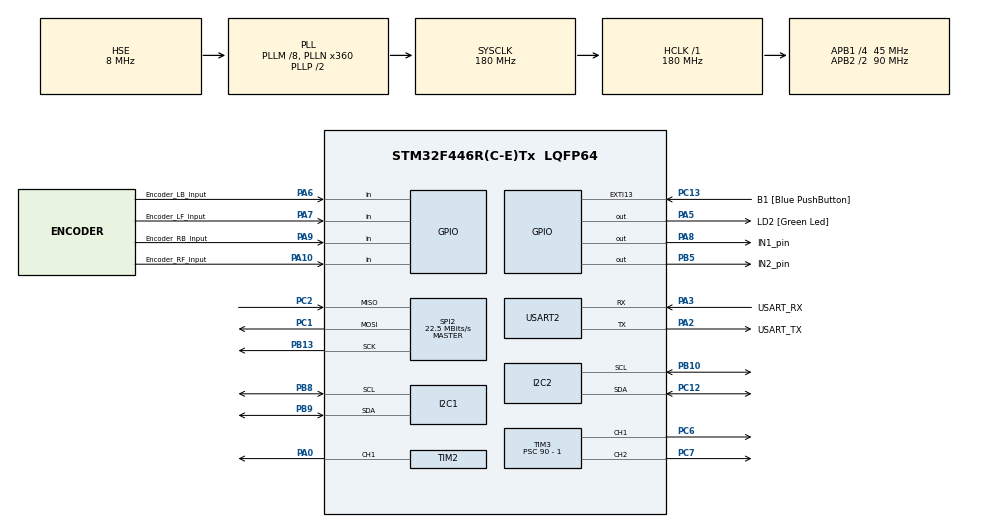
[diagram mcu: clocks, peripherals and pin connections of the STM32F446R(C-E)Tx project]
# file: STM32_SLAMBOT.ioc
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Dma.Request0=USART2_RX
Dma.Request1=USART2_TX
Dma.USART2_RX.0.Direction=DMA_PERIPH_TO_MEMORY
Dma.USART2_RX.0.FIFOMode=DMA_FIFOMODE_DISABLE
Dma.USART2_RX.0.Instance=DMA1_Stream5
Dma.USART2_RX.0.MemDataAlignment=DMA_MDATAALIGN_BYTE
Dma.USART2_RX.0.MemInc=DMA_MINC_ENABLE
Dma.USART2_RX.0.Mode=DMA_CIRCULAR
Dma.USART2_RX.0.PeriphDataAlignment=DMA_PDATAALIGN_BYTE
Dma.USART2_RX.0.PeriphInc=DMA_PINC_DISABLE
Dma.USART2_RX.0.Priority=DMA_PRIORITY_VERY_HIGH
Dma.USART2_TX.1.Direction=DMA_MEMORY_TO_PERIPH
Dma.USART2_TX.1.FIFOMode=DMA_FIFOMODE_DISABLE
Dma.USART2_TX.1.Instance=DMA1_Stream6
Dma.USART2_TX.1.MemDataAlignment=DMA_MDATAALIGN_BYTE
Dma.USART2_TX.1.MemInc=DMA_MINC_ENABLE
Dma.USART2_TX.1.Mode=DMA_NORMAL
Dma.USART2_TX.1.PeriphDataAlignment=DMA_PDATAALIGN_BYTE
Dma.USART2_TX.1.PeriphInc=DMA_PINC_DISABLE
Dma.USART2_TX.1.Priority=DMA_PRIORITY_VERY_HIGH
FREERTOS.Tasks01=defaultTask,24,3000,StartDefaultTask,Default,NULL,Static,defaultTaskBuffer,defaultTaskControlBlock
FREERTOS.configMINIMAL_STACK_SIZE=256
Mcu.Family=STM32F4
Mcu.Name=STM32F446R(C-E)Tx
Mcu.Package=LQFP64
NVIC.DMA1_Stream5_IRQn=true\:5\:0\:false\:false\:true\:true\:false\:true\:true
NVIC.DMA1_Stream6_IRQn=true\:5\:0\:false\:false\:true\:true\:false\:true\:true
NVIC.EXTI15_10_IRQn=true\:5\:0\:false\:false\:true\:true\:true\:true\:true
NVIC.PriorityGroup=NVIC_PRIORITYGROUP_4
NVIC.TIM1_UP_TIM10_IRQn=true\:15\:0\:false\:false\:true\:false\:false\:true\:true
NVIC.TIM2_IRQn=true\:5\:0\:false\:false\:true\:true\:true\:true\:true
NVIC.TimeBase=TIM1_UP_TIM10_IRQn
NVIC.TimeBaseIP=TIM1
NVIC.USART2_IRQn=true\:5\:0\:false\:false\:true\:true\:true\:true\:true
PA0-WKUP.Signal=S_TIM2_CH1_ETR
PA10.GPIO_Label=Encoder_RF_Input
PA10.Signal=GPIO_Input
PA13.GPIO_Label=TMS
PA13.Mode=Serial_Wire
PA13.Signal=SYS_JTMS-SWDIO
PA14.GPIO_Label=TCK
PA14.Mode=Serial_Wire
PA14.Signal=SYS_JTCK-SWCLK
PA2.GPIO_Label=USART_TX
PA2.Mode=Asynchronous
PA2.Signal=USART2_TX
PA3.GPIO_Label=USART_RX
PA3.Mode=Asynchronous
PA3.Signal=USART2_RX
PA5.GPIO_Label=LD2 [Green Led]
PA5.Signal=GPIO_Output
PA6.GPIO_Label=Encoder_LB_Input
PA6.Signal=GPIO_Input
PA7.GPIO_Label=Encoder_LF_Input
PA7.Signal=GPIO_Input
PA8.GPIO_Label=IN1_pin
PA8.Signal=GPIO_Output
PA9.GPIO_Label=Encoder_RB_Input
PA9.Signal=GPIO_Input
PB10.Mode=I2C
PB10.Signal=I2C2_SCL
PB13.Mode=Full_Duplex_Master
PB13.Signal=SPI2_SCK
PB3.GPIO_Label=SWO
PB3.Signal=SYS_JTDO-SWO
PB5.GPIO_Label=IN2_pin
PB5.Signal=GPIO_Output
PB8.Mode=I2C
PB8.Signal=I2C1_SCL
PB9.Mode=I2C
PB9.Signal=I2C1_SDA
PC1.Mode=Full_Duplex_Master
PC1.Signal=SPI2_MOSI
PC12.Mode=I2C
PC12.Signal=I2C2_SDA
PC13.GPIO_Label=B1 [Blue PushButton]
PC13.GPIO_ModeDefaultEXTI=GPIO_MODE_IT_FALLING
PC13.Signal=GPXTI13
PC14-OSC32_IN.Mode=LSE-External-Oscillator
PC14-OSC32_IN.Signal=RCC_OSC32_IN
PC15-OSC32_OUT.Mode=LSE-External-Oscillator
PC15-OSC32_OUT.Signal=RCC_OSC32_OUT
PC2.Mode=Full_Duplex_Master
PC2.Signal=SPI2_MISO
PC6.Signal=S_TIM3_CH1
PC7.Signal=S_TIM3_CH2
PH0-OSC_IN.Mode=HSE-External-Oscillator
PH0-OSC_IN.Signal=RCC_OSC_IN
PH1-OSC_OUT.Mode=HSE-External-Oscillator
PH1-OSC_OUT.Signal=RCC_OSC_OUT
ProjectManager.HeapSize=0x200
ProjectManager.StackSize=0x400
ProjectManager.TargetToolchain=STM32CubeIDE
RCC.48MHZClocksFreq_Value=84000000
RCC.AHBFreq_Value=180000000
RCC.APB1CLKDivider=RCC_HCLK_DIV4
RCC.APB1Freq_Value=45000000
RCC.APB1TimFreq_Value=90000000
RCC.APB2CLKDivider=RCC_HCLK_DIV2
RCC.APB2Freq_Value=90000000
RCC.APB2TimFreq_Value=180000000
RCC.CortexFreq_Value=180000000
RCC.FLatency-AdvancedSettings=FLASH_LATENCY_5
RCC.HCLKFreq_Value=180000000
RCC.HSE_VALUE=8000000
RCC.HSI_VALUE=16000000
RCC.PLLM=8
RCC.PLLN=360
RCC.PLLSourceVirtual=RCC_PLLSOURCE_HSE
RCC.SYSCLKFreq_VALUE=180000000
RCC.SYSCLKSource=RCC_SYSCLKSOURCE_PLLCLK
RCC.USBFreq_Value=180000000
RCC.VCOOutputFreq_Value=360000000
SH.S_TIM2_CH1_ETR.0=TIM2_CH1,PWM Generation1 CH1
SH.S_TIM3_CH1.0=TIM3_CH1,PWM Generation1 CH1
SH.S_TIM3_CH2.0=TIM3_CH2,PWM Generation2 CH2
SPI2.BaudRatePrescaler=SPI_BAUDRATEPRESCALER_2
SPI2.CalculateBaudRate=22.5 MBits/s
SPI2.Direction=SPI_DIRECTION_2LINES
SPI2.Mode=SPI_MODE_MASTER
SPI2.VirtualType=VM_MASTER
TIM2.Channel-PWM\ Generation1\ CH1=TIM_CHANNEL_1
TIM2.Period=10000 -1
TIM2.Prescaler=180-1
TIM3.AutoReloadPreload=TIM_AUTORELOAD_PRELOAD_ENABLE
TIM3.Channel-PWM\ Generation1\ CH1=TIM_CHANNEL_1
TIM3.Channel-PWM\ Generation2\ CH2=TIM_CHANNEL_2
TIM3.Period=2000 - 1
TIM3.Prescaler=90 - 1
TIM3.Pulse-PWM\ Generation1\ CH1=25
USART2.VirtualMode=VM_ASYNC
VP_FREERTOS_VS_CMSIS_V2.Mode=CMSIS_V2
VP_SYS_VS_tim1.Mode=TIM1
VP_TIM2_VS_ClockSourceINT.Mode=Internal
VP_TIM3_VS_ClockSourceINT.Mode=Internal
board=NUCLEO-F446RE

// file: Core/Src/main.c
/* USER CODE BEGIN Header */
/**
  ******************************************************************************
  * @file           : main.c
  * @brief          : Main program body
  ******************************************************************************
  * @attention
  *
  * Copyright (c) 2024 STMicroelectronics.
  * All rights reserved.
  *
  * This software is licensed under terms that can be found in the LICENSE file
  * in the root directory of this software component.
  * If no LICENSE file comes with this software, it is provided AS-IS.
  *
  ******************************************************************************
  */
/* USER CODE END Header */
#include "main.h"
#include "cmsis_os.h"
#include "dma.h"
#include "i2c.h"
#include "spi.h"
#include "tim.h"
#include "usart.h"
#include "gpio.h"

/* USER CODE BEGIN Includes */
#include <string.h>
#include <stdio.h>
#include <inttypes.h>
#include <stdbool.h>

#include <rcl/rcl.h>
#include <rcl/error_handling.h>
#include <rclc/rclc.h>
#include <rclc/executor.h>
#include <uxr/client/transport.h>
#include <rmw_microxrcedds_c/config.h>
#include <rmw_microros/rmw_microros.h>

#include <std_msgs/msg/int32.h>

#include "cmsis_os2.h"
#include "constants.h"
/* USER CODE END Includes */

/* USER CODE BEGIN PV */

//#define NUM_ENCODERS 4
//#define MAX_TICK_COUNT 65353
//#define ACCEL_SCALE 16384.0
//#define GYRO_SCALE  131.0
//
//static const uint8_t LIDAR_ADDR  = 0x10 << 1;
//// static const uint8_t DIST_OUT  = 0x21 << 1;
////static const uint8_t DIST_LOW  = 0x00 << 1;
//
//
//
//
////test change
//
//static const uint8_t MPU9250_ADDR  = 0x68 << 1;
//static const uint8_t REG_TEMP = 0x00;
//static const uint8_t WHO_AM_I_REG = 0x75;
//static const uint8_t PWR_MGMT_1_REG = 0x6B;
//static const uint8_t ACCEL_XOUT_H = 0x3B;
//static const uint8_t GYRO_XOUT_H = 0x43;

//typedef enum{
//    STOP = 'x',
//    MOVE_FORWARD = 'w',
//    MOVE_BACKWARD = 's',
//    MOVE_LEFT = 'l',
//    MOVE_RIGHT = 'r',
//    ROTATE_LEFT = 'a',
//    ROTATE_RIGHT = 'd',
//    DIAG_FORWARD_RIGHT = 'e',
//    DIAG_BACKWARD_RIGHT = 'c',
//    DIAG_FORWARD_LEFT = 'q',
//    DIAG_BACKWARD_LEFT = 'z',
//    FASTER = '+',
//    SLOWER = '-',
//    INVALID = '?'
//}RobotMovement;

//typedef enum{
//    FORWARD = 1,
//    BACKWARD = -1,
//	STOPPED = 100
//}Direction;

//typedef struct {
//    Direction left_front;
//    Direction right_front;
//    Direction left_back;
//    Direction right_back;
//} MovementDirections;
//
//// Define static movement directions
//const MovementDirections DIR_MOVE_FORWARD = {FORWARD, FORWARD, BACKWARD, BACKWARD};
//const MovementDirections DIR_MOVE_BACKWARD = {BACKWARD, BACKWARD, FORWARD, FORWARD};
//const MovementDirections DIR_MOVE_LEFT = {BACKWARD, FORWARD, BACKWARD, FORWARD};
//const MovementDirections DIR_MOVE_RIGHT = {FORWARD, BACKWARD, FORWARD, BACKWARD};
//const MovementDirections DIR_ROTATE_LEFT = {BACKWARD, FORWARD, BACKWARD, FORWARD};
//const MovementDirections DIR_ROTATE_RIGHT = {FORWARD, BACKWARD, FORWARD, BACKWARD};
//const MovementDirections DIR_DIAG_FORWARD_RIGHT = {FORWARD, STOPPED, FORWARD, STOPPED};
//const MovementDirections DIR_DIAG_BACKWARD_RIGHT = {STOPPED, BACKWARD, STOPPED, BACKWARD};
//const MovementDirections DIR_DIAG_FORWARD_LEFT = {STOPPED, FORWARD, STOPPED, FORWARD};
//const MovementDirections DIR_DIAG_BACKWARD_LEFT = {BACKWARD, STOPPED, BACKWARD, STOPPED};

//Direction* test = (Direction*)mallac(sizeof(Direction)*4);
//Direction DIR_MOVE_FORWARD[] = {BACKWARD, FORWARD, FORWARD, BACKWARD};
//Direction DIR_MOVE_BACKWARD[] = {FORWARD, BACKWARD, BACKWARD, FORWARD};
//Direction DIR_MOVE_LEFT[] = {BACKWARD, FORWARD, BACKWARD, FORWARD};
//Direction DIR_MOVE_RIGHT[] = {FORWARD, BACKWARD, FORWARD, BACKWARD};
//Direction DIR_ROTATE_LEFT[] = {BACKWARD, FORWARD, BACKWARD, FORWARD};
//Direction DIR_ROTATE_RIGHT[] = {FORWARD, BACKWARD, FORWARD, BACKWARD};
//Direction DIR_DIAG_FORWARD_RIGHT[] = {FORWARD, STOPPED, FORWARD, STOPPED};
//Direction DIR_DIAG_BACKWARD_RIGHT[] = {STOPPED, BACKWARD, STOPPED, BACKWARD};
//Direction DIR_DIAG_FORWARD_LEFT[] = {STOPPED, FORWARD, STOPPED, FORWARD};
//Direction DIR_DIAG_BACKWARD_LEFT[] = {BACKWARD, STOPPED, BACKWARD, STOPPED};

//typedef enum{
//    BACK = 0,
//    FRONT = 1,
//}WheelPosition;

//volatile int32_t encoder_ticks_wheel1 = 0;
//volatile uint8_t prev_encoder1_state = 0;

//typedef struct{
//	volatile int32_t tick_count;
//	volatile uint8_t prev_state;
//	Direction wheel_spin;
//	WheelPosition wheel_pos;
//	GPIO_TypeDef* gpio_port;
//	uint16_t gpio_pin;
//}Encoder;

//forward wheel and back spin in opposite direction to achieve forward/backward

//Encoder right_back = {0, 0, BACKWARD, BACK, Encoder_RB_Input_GPIO_Port, Encoder_RB_Input_Pin};
//Encoder right_front = {0, 0, FORWARD, FRONT, Encoder_RF_Input_GPIO_Port, Encoder_RF_Input_Pin};
//Encoder left_front = {0, 0, FORWARD, FRONT, Encoder_LF_Input_GPIO_Port,Encoder_LF_Input_Pin};
//Encoder left_back = {0, 0, BACKWARD, BACK, Encoder_LB_Input_GPIO_Port, Encoder_LB_Input_Pin};

//Encoder* encoders[NUM_ENCODERS] = {&right_back, &right_front, &left_front, &left_back};

//uint8_t imu_buf[14];
//uint8_t uart_buf[100];
//uint8_t i2c_buf[100];

uint8_t uart_lidar_buf[10];
//uint8_t i2c_lidar_buf[10];

HAL_StatusTypeDef ret;
HAL_StatusTypeDef ret_lidar;
float accel[3], gyro[3];

/* USER CODE END PV */

void SystemClock_Config(void);
void MX_FREERTOS_Init(void);
/* USER CODE BEGIN PFP */

void MPU9250_Init(void);
void MPU9250_read_accel_gyro(float *accel, float *gyro);
void handle_IMU();
void handle_lidar();
void handle_lidar_i2c();
void handle_encoder();

void update_multiple_directions(const Direction dir[]);
void update_encoder_directon(Encoder * enc, Direction wheel_dir);
void handle_encoder_direction(RobotMovement move);

/* USER CODE END PFP */

int main(void)
{

  /* MCU Configuration--------------------------------------------------------*/

  /* Reset of all peripherals, Initializes the Flash interface and the Systick. */
  HAL_Init();

  /* Configure the system clock */
  SystemClock_Config();

  /* Initialize all configured peripherals */
  MX_GPIO_Init();
  MX_DMA_Init();
  MX_USART2_UART_Init();
  MX_I2C1_Init();
  MX_TIM2_Init();
  MX_I2C2_Init();
  MX_SPI2_Init();
  MX_TIM3_Init();
  /* USER CODE BEGIN 2 */
  strcpy((char*)uart_buf, "Starting Timer2 \r\n");
  HAL_UART_Transmit(&huart2, uart_buf, strlen((char*)uart_buf), HAL_MAX_DELAY);

  // void HAL_TIM_PeriodElapsedCallback(TIM_HandleTypeDef* htim);

  HAL_TIM_Base_Start_IT(&htim2);
  //HAL_TIM_PWM_Start(&htim2, TIM_CHANNEL_1);
  HAL_TIM_PWM_Start(&htim3, TIM_CHANNEL_2);
//  HAL_TIM_Encoder_Start(&htim2, TIM_CHANNEL_ALL);
//  HAL_TIM_Encoder_Start_IT(&htim3, TIM_CHANNEL_ALL);
//  HAL_TIM_Encoder_Start_IT(&htim4, TIM_CHANNEL_ALL);
//  HAL_TIM_Encoder_Start_IT(&htim5, TIM_CHANNEL_ALL);

  /* USER CODE END 2 */

  /* Init scheduler */
   osKernelInitialize();

  /* Call init function for freertos objects (in cmsis_os2.c) */
   MX_FREERTOS_Init();

  /* Start scheduler */
   osKernelStart();

  /* We should never get here as control is now taken by the scheduler */

  /* Infinite loop */
  while (1)
  {

    /* USER CODE BEGIN 3 */

//	 never reach here due to freeRTOS, but keep for debugging sensors when needed (also need tp comment osKernelStart)
//	 handle_IMU();
//	 handle_lidar_i2c();
//	 handle_encoder();

//	HAL_Delay(500);
  }
  /* USER CODE END 3 */
}

void SystemClock_Config(void)
{
  RCC_OscInitTypeDef RCC_OscInitStruct = {0};
  RCC_ClkInitTypeDef RCC_ClkInitStruct = {0};

  /** Configure the main internal regulator output voltage
  */
  __HAL_RCC_PWR_CLK_ENABLE();
  __HAL_PWR_VOLTAGESCALING_CONFIG(PWR_REGULATOR_VOLTAGE_SCALE1);

  /** Initializes the RCC Oscillators according to the specified parameters
  * in the RCC_OscInitTypeDef structure.
  */
  RCC_OscInitStruct.OscillatorType = RCC_OSCILLATORTYPE_HSE;
  RCC_OscInitStruct.HSEState = RCC_HSE_ON;
  RCC_OscInitStruct.PLL.PLLState = RCC_PLL_ON;
  RCC_OscInitStruct.PLL.PLLSource = RCC_PLLSOURCE_HSE;
  RCC_OscInitStruct.PLL.PLLM = 8;
  RCC_OscInitStruct.PLL.PLLN = 360;
  RCC_OscInitStruct.PLL.PLLP = RCC_PLLP_DIV2;
  RCC_OscInitStruct.PLL.PLLQ = 2;
  RCC_OscInitStruct.PLL.PLLR = 2;
  if (HAL_RCC_OscConfig(&RCC_OscInitStruct) != HAL_OK)
  {
    Error_Handler();
  }

  /** Activate the Over-Drive mode
  */
  if (HAL_PWREx_EnableOverDrive() != HAL_OK)
  {
    Error_Handler();
  }

  /** Initializes the CPU, AHB and APB buses clocks
  */
  RCC_ClkInitStruct.ClockType = RCC_CLOCKTYPE_HCLK|RCC_CLOCKTYPE_SYSCLK
                              |RCC_CLOCKTYPE_PCLK1|RCC_CLOCKTYPE_PCLK2;
  RCC_ClkInitStruct.SYSCLKSource = RCC_SYSCLKSOURCE_PLLCLK;
  RCC_ClkInitStruct.AHBCLKDivider = RCC_SYSCLK_DIV1;
  RCC_ClkInitStruct.APB1CLKDivider = RCC_HCLK_DIV4;
  RCC_ClkInitStruct.APB2CLKDivider = RCC_HCLK_DIV2;

  if (HAL_RCC_ClockConfig(&RCC_ClkInitStruct, FLASH_LATENCY_5) != HAL_OK)
  {
    Error_Handler();
  }
}

/* USER CODE BEGIN 4 */

void lidar_Init(){

}

void MPU9250_Init(void)
{
    uint8_t check, data;

    // Check WHO_AM_I register
    HAL_I2C_Mem_Read(&hi2c1, MPU9250_ADDR, WHO_AM_I_REG, 1, &check, 1, HAL_MAX_DELAY);
    if (check != 0x71)  // 0x71 is the expected response for MPU-9250
    {
        char error_msg[] = "MPU9250 not found\r\n";
        HAL_UART_Transmit(&huart2, (uint8_t *)error_msg, strlen(error_msg), HAL_MAX_DELAY);
        while (1);  // Stop execution if MPU-9250 is not detected
    }

    // Wake up the MPU-9250 by clearing sleep mode bit (6) in PWR_MGMT_1
    data = 0x00;
    HAL_I2C_Mem_Write(&hi2c1, MPU9250_ADDR, PWR_MGMT_1_REG, 1, &data, 1, HAL_MAX_DELAY);
}

void handle_lidar(){

   // bool receive_lidar_data = true;
    // Receive data from Lidar (9 bytes for a typical distance data frame)
//    uint8_t continous_output[] = {0x5A, 0x05, 0x07, 0x01, 0x00};
//    ret_lidar = HAL_UART_Transmit(&huart3, continous_output , strlen((char*)continous_output), HAL_MAX_DELAY);
//    if(ret_lidar == HAL_OK){
//        strcpy((char*)uart_buf, "Continous output command succeded \r\n");
//        HAL_UART_Transmit(&huart2, uart_buf, strlen((char*)uart_buf), HAL_MAX_DELAY);
//    }

//	ret_lidar = HAL_UART_Receive(&huart4, uart_lidar_buf, strlen((char*)uart_lidar_buf), HAL_MAX_DELAY);
//    if (ret_lidar != HAL_OK) {
//        // Handle UART receive failure
//        strcpy((char*)uart_buf, "Lidar UART Receive Failed in handle_lidar\r\n");
//        HAL_UART_Transmit(&huart2, uart_buf, strlen((char*)uart_buf), HAL_MAX_DELAY);
//        receive_lidar_data = false;
//    }
//
//    if (receive_lidar_data) {
//    	 sprintf((char*)uart_buf, "Recieved data");
//    	 HAL_UART_Transmit(&huart2, uart_buf, strlen((char*)uart_buf), HAL_MAX_DELAY);
//        // Validate header
//        if (uart_lidar_buf[0] != 0x5A) {
//            strcpy((char*)uart_buf, "Invalid Lidar Data Header\r\n");
//            HAL_UART_Transmit(&huart2, uart_buf, strlen((char*)uart_buf), HAL_MAX_DELAY);
//            return;
//        }
//
//        // Extract the payload length
//        uint8_t len = uart_lidar_buf[1];
//        if (len < 4 || len > 255) {
//            strcpy((char*)uart_buf, "Invalid Lidar Data Length\r\n");
//            HAL_UART_Transmit(&huart2, uart_buf, strlen((char*)uart_buf), HAL_MAX_DELAY);
//            return;
//        }
//
//        sprintf((char*)uart_buf, "Header and payload okay data");
//        HAL_UART_Transmit(&huart2, uart_buf, strlen((char*)uart_buf), HAL_MAX_DELAY);
//
//        // Parse distance data (Payload bytes)
//        uint16_t distance = (uart_lidar_buf[3] << 8) | uart_lidar_buf[2];
//
//        // Optional: Validate checksum (if checksum verification is enabled)
//        uint8_t checksum = 0;
//        for (int i = 0; i < len - 1; i++) {
//            checksum += uart_lidar_buf[i];
//        }
//        sprintf((char*)uart_buf, "Checksum okay data");
//        HAL_UART_Transmit(&huart2, uart_buf, strlen((char*)uart_buf), HAL_MAX_DELAY);
//        if ((checksum & 0xFF) != uart_lidar_buf[len - 1]) {
//            strcpy((char*)uart_buf, "Lidar Checksum Error\r\n");
//            HAL_UART_Transmit(&huart2, uart_buf, strlen((char*)uart_buf), HAL_MAX_DELAY);
//            return;
//        }
//
//        // Transmit distance over UART
//        sprintf((char*)uart_buf, "LiDAR Distance: %u cm\r\n", distance);
//        HAL_UART_Transmit(&huart2, uart_buf, strlen((char*)uart_buf), HAL_MAX_DELAY);
//    }
}

void handle_lidar_i2c(){
	uart_buf[0] = REG_TEMP;
	// verify connection

	bool connect_lidar_success = true;
	ret = HAL_I2C_Master_Transmit(&hi2c2, LIDAR_ADDR, i2c_lidar_buf, 1, HAL_MAX_DELAY);
	if(ret != HAL_OK){
		strcpy((char*)uart_buf, "Lidar I2C Transmit Failed in handle_IMU\r\n");
		HAL_UART_Transmit(&huart2, uart_buf, strlen((char*)uart_buf), HAL_MAX_DELAY);
		connect_lidar_success = false;
	}

	ret = HAL_I2C_Master_Receive(&hi2c2, LIDAR_ADDR, i2c_lidar_buf, 2, HAL_MAX_DELAY);
	if(ret != HAL_OK){
		strcpy((char*)uart_buf, "Lidar I2C Receive Failed in handle_IMU\r\n");
		HAL_UART_Transmit(&huart2, uart_buf, strlen((char*)uart_buf), HAL_MAX_DELAY);
		connect_lidar_success = false;
	}

	//read and print
	if(connect_lidar_success){
		// uint8_t i2c__test_buf[14];
	    HAL_I2C_Mem_Read(&hi2c2, LIDAR_ADDR, 0x00, 1, i2c_lidar_buf, 14, HAL_MAX_DELAY);
	    uint8_t distance = (i2c_lidar_buf[1] << 8) | i2c_lidar_buf[0];
        sprintf((char *)uart_buf, "LiDAR Distance: %u cm\r\n", distance);
        HAL_UART_Transmit(&huart2, uart_buf, strlen((char *)uart_buf), HAL_MAX_DELAY);
	}

}

void handle_IMU(){

	uart_buf[0] = REG_TEMP;

	// verify connection
	bool connect_imu_success = true;
	ret = HAL_I2C_Master_Transmit(&hi2c1, MPU9250_ADDR, i2c_buf, 1, HAL_MAX_DELAY);
	if(ret != HAL_OK){
		strcpy((char*)uart_buf, "MPU9250 I2C Transmit Failed in handle_IMU\r\n");
		HAL_UART_Transmit(&huart2, uart_buf, strlen((char*)uart_buf), HAL_MAX_DELAY);
		connect_imu_success = false;
	}

	ret = HAL_I2C_Master_Receive(&hi2c1, MPU9250_ADDR, i2c_buf, 2, HAL_MAX_DELAY);
	if(ret != HAL_OK){
		strcpy((char*)uart_buf, "MPU9250 I2C Receive Failed in handle_IMU\r\n");
		HAL_UART_Transmit(&huart2, uart_buf, strlen((char*)uart_buf), HAL_MAX_DELAY);
		connect_imu_success = false;
	}

	//read and print
	if(connect_imu_success){
		MPU9250_read_accel_gyro(accel, gyro);
		sprintf((char*)uart_buf,
					"Accel: X=%.2f, Y=%.2f, Z=%.2f | Gyro: X=%.2f, Y=%.2f, Z=%.2f\r\n",
					accel[0], accel[1], accel[2], gyro[0], gyro[1], gyro[2]);
		HAL_UART_Transmit(&huart2, uart_buf, strlen((char*)uart_buf), HAL_MAX_DELAY);
	}
}

/**
 * @brief Read accelerometer and gyroscope data
 * @param accel: Pointer to store accelerometer data (X, Y, Z)
 * @param gyro: Pointer to store gyroscope data (X, Y, Z)
 *
 */

void MPU9250_read_accel_gyro(float *accel, float *gyro)
{
    // Read accelerometer and gyroscope data (14 bytes)
    HAL_I2C_Mem_Read(&hi2c1, MPU9250_ADDR, ACCEL_XOUT_H, 1, imu_buf, 14, HAL_MAX_DELAY);

    // Convert accelerometer raw data to g
    accel[0] = (int16_t)((imu_buf[0] << 8) | imu_buf[1]) / ACCEL_SCALE;
    accel[1] = (int16_t)((imu_buf[2] << 8) | imu_buf[3]) / ACCEL_SCALE;
    accel[2] = (int16_t)((imu_buf[4] << 8) | imu_buf[5]) / ACCEL_SCALE;

    // Convert gyroscope raw data to degrees/second
    gyro[0] = (int16_t)((imu_buf[8] << 8) | imu_buf[9]) / GYRO_SCALE;
    gyro[1] = (int16_t)((imu_buf[10] << 8) | imu_buf[11]) / GYRO_SCALE;
    gyro[2] = (int16_t)((imu_buf[12] << 8) | imu_buf[13]) / GYRO_SCALE;
}

/*
 *
 * enum RobotMovement{
    STOP = 'x',
    MOVE_FORWARD = 'w',
    MOVE_BACKWARD = 's',
    MOVE_LEFT = 'l',
    MOVE_RIGHT = 'r',
    ROTATE_LEFT = 'a',
    ROTATE_RIGHT = 'd',
    DIAG_FORWARD_RIGHT = 'e',
    DIAG_BACKWARD_RIGHT = 'c',
    DIAG_FORWARD_LEFT = 'q',
    DIAG_BACKWARD_LEFT = 'z',
    FASTER = '+',
    SLOWER = '-',
    INVALID = '?'
};
 *
 *
 *
 *
 *
 * */
void handle_encoder(){
	 for (uint8_t i = 0; i < NUM_ENCODERS; i++) {
		// int32_t ticks =; // __HAL_TIM_GET_COUNTER(&htim2);
		sprintf((char*)uart_buf, "Pin: %u\r\n",  encoders[i]->gpio_pin);
		HAL_UART_Transmit(&huart2, uart_buf, strlen((char*)uart_buf), HAL_MAX_DELAY);
		sprintf((char*)uart_buf, "encoder_ticks_wheel_%d:%" PRId32 "\r\n", i+1,  encoders[i]->tick_count);
		HAL_UART_Transmit(&huart2, uart_buf, strlen((char*)uart_buf), HAL_MAX_DELAY);
	 }
}

/*
 *
 * 0 = right_back
 * 1 = right_front
 * 2 = left_front
 * 3 = left_back
 *{BACKWARD, FORWARD, FORWARD, BACKWARD}
{FORWARD, BACKWARD, BACKWARD, FORWARD}
{BACKWARD, FORWARD, BACKWARD, FORWARD}
{FORWARD, BACKWARD, FORWARD, BACKWARD}
{BACKWARD, FORWARD, BACKWARD, FORWARD}
{FORWARD, BACKWARD, FORWARD, BACKWARD}
{FORWARD, NONE, FORWARD, NONE}
{NONE, BACKWARD, NONE, BACKWARD}
{NONE, FORWARD, NONE, FORWARD}
{BACKWARD, NONE, BACKWARD, NONE}
 * */

void handle_encoder_direction(RobotMovement move){

	switch (move){
		case STOP:
			//Fall Through, potentially add check to ensure motors are stopped
			break;
		case MOVE_FORWARD:
			update_multiple_directions(DIR_MOVE_FORWARD);
			break;
		case MOVE_BACKWARD:
			update_multiple_directions(DIR_MOVE_BACKWARD);
			break;
		case MOVE_LEFT:
			update_multiple_directions(DIR_MOVE_LEFT);
			break;
		case MOVE_RIGHT:
			update_multiple_directions(DIR_MOVE_RIGHT);
			break;
		case ROTATE_LEFT:
			update_multiple_directions(DIR_ROTATE_LEFT);
			break;
		case ROTATE_RIGHT:
			update_multiple_directions(DIR_ROTATE_RIGHT);
			break;
		case DIAG_FORWARD_RIGHT:
			update_multiple_directions(DIR_DIAG_FORWARD_RIGHT);
			break;
		case DIAG_BACKWARD_RIGHT:
			update_multiple_directions(DIR_DIAG_BACKWARD_RIGHT);
			break;
		case DIAG_FORWARD_LEFT:
			update_multiple_directions(DIR_DIAG_FORWARD_LEFT);
			break;
		case DIAG_BACKWARD_LEFT:
			update_multiple_directions(DIR_DIAG_BACKWARD_LEFT);
			break;
		case FASTER:
			//fall through
			break;
		case SLOWER:
			//fall through
			break;
		case INVALID:
			//fall through
			break;
	}
}

void update_multiple_directions(const Direction  dir[]) {
	if(dir == NULL){
		//error
		return;
	}

    for (uint8_t i = 0; i < NUM_ENCODERS; i++) {
    	if(dir[i] == STOPPED){
    		continue;
    	}
        update_encoder_directon(encoders[i], dir[i]);
    }
}

void update_encoder_directon(Encoder * enc, Direction wheel_dir){
	if(enc == NULL){
		return;
	}
	enc->wheel_spin = wheel_dir;
}

//Encoder right_back = {0, 0, FORWARD, BACK, Encoder_RB_Input_GPIO_Port, Encoder_RB_Input_Pin};
//Encoder right_front = {0, 0, BACKWARD,FRONT, Encoder_RF_Input_GPIO_Port, Encoder_RF_Input_Pin};
//Encoder left_front = {0, 0, FORWARD,FRONT, Encoder_LF_Input_GPIO_Port,Encoder_LF_Input_Pin};
//Encoder left_back = {0, 0, BACKWARD,BACK, Encoder_LB_Input_GPIO_Port, Encoder_LB_Input_Pin};

/*
void HAL_TIM_PeriodElapsedCallback(TIM_HandleTypeDef* htim)
{
	// uint8_t local_buffer[100];
}
*/

/* USER CODE END 4 */

void HAL_TIM_PeriodElapsedCallback(TIM_HandleTypeDef *htim)
{
  /* USER CODE BEGIN Callback 0 */
    if (htim == &htim2)  // Check which timer triggered the interrupt
    {
        for (uint8_t i = 0; i < NUM_ENCODERS; i++) {
            Encoder* enc = encoders[i];
            uint8_t curr_state = HAL_GPIO_ReadPin(enc->gpio_port, enc->gpio_pin);
            // Process state change
            if (curr_state != enc->prev_state) {
                int32_t tick_change = (enc->wheel_spin == FORWARD) ? 1 : -1;
                enc->tick_count += (enc->wheel_pos == FRONT) ? tick_change : -tick_change;
                enc->prev_state = curr_state;
            }
        }
    }

  /* USER CODE END Callback 0 */
  if (htim->Instance == TIM1) {
    HAL_IncTick();
  }
}

void Error_Handler(void)
{
  __disable_irq();
  while (1)
  {
  }
}

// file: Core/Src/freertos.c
/* USER CODE BEGIN Header */
/**
  ******************************************************************************
  * File Name          : freertos.c
  * Description        : Code for freertos applications
  ******************************************************************************
  * @attention
  *
  * Copyright (c) 2025 STMicroelectronics.
  * All rights reserved.
  *
  * This software is licensed under terms that can be found in the LICENSE file
  * in the root directory of this software component.
  * If no LICENSE file comes with this software, it is provided AS-IS.
  *
  ******************************************************************************
  */
/* USER CODE END Header */

#include "FreeRTOS.h"
#include "task.h"
#include "main.h"
#include "cmsis_os.h"

/* USER CODE BEGIN Includes */
#include "usart.h"
#include <stdbool.h>
#include <stdlib.h>
#include <math.h>

#include <rcl/rcl.h>
#include <rcl/error_handling.h>
#include <rclc/rclc.h>
#include <rclc/executor.h>
#include <uxr/client/transport.h>
#include <rmw_microxrcedds_c/config.h>
#include <rmw_microros/rmw_microros.h>
#include <uxr/client/util/time.h>

#include <std_msgs/msg/string.h>
#include <std_msgs/msg/int32.h>
#include <std_msgs/msg/float32.h>

#include "sensor_msgs/msg/imu.h"
#include "sensor_msgs/msg/laser_scan.h"

#include "usart.h"
#include "i2c.h"
#include "tim.h"
#include "constants.h"
#include "MadgwickAHRS.h"

//freeRTOS stuff
#include "timers.h"

/* USER CODE END Includes */

typedef StaticTask_t osStaticThreadDef_t;

/* USER CODE BEGIN Variables */
rcl_publisher_t publisher;
rcl_publisher_t encoder_publisher;

rcl_publisher_t encoder_RB_publisher;
rcl_publisher_t encoder_RF_publisher;
rcl_publisher_t encoder_LF_publisher;
rcl_publisher_t encoder_LB_publisher;

rcl_publisher_t* encoder_pub[NUM_ENCODERS] = {&encoder_RB_publisher, &encoder_RF_publisher, &encoder_LF_publisher, &encoder_LB_publisher};

rcl_publisher_t imu_publisher;
rcl_publisher_t lidar_publisher;
//rcl_publisher_t encoder_pub_check;

rcl_subscription_t encoder_dir_subscriber;

std_msgs__msg__Int32 encoder_msg;
sensor_msgs__msg__Imu  imu_msg;
std_msgs__msg__Float32 lidar_msg;
std_msgs__msg__Int32 msg;
std_msgs__msg__String sub_encoder_dir_msg;
std_msgs__msg__String pub_encoder_dir_msg;

sensor_msgs__msg__LaserScan lidar_msg_laserscan;

bool motor_spin_forward = true;

uint32_t servo_angle = 0;
uint32_t step = 10;

/* USER CODE END Variables */
/* Definitions for defaultTask */
osThreadId_t defaultTaskHandle;
uint32_t defaultTaskBuffer[ 3000 ];
osStaticThreadDef_t defaultTaskControlBlock;
const osThreadAttr_t defaultTask_attributes = {
  .name = "defaultTask",
  .cb_mem = &defaultTaskControlBlock,
  .cb_size = sizeof(defaultTaskControlBlock),
  .stack_mem = &defaultTaskBuffer[0],
  .stack_size = sizeof(defaultTaskBuffer),
  .priority = (osPriority_t) osPriorityNormal,
};

/* USER CODE BEGIN FunctionPrototypes */
bool cubemx_transport_open(struct uxrCustomTransport * transport);
bool cubemx_transport_close(struct uxrCustomTransport * transport);
size_t cubemx_transport_write(struct uxrCustomTransport* transport, const uint8_t * buf, size_t len, uint8_t * err);
size_t cubemx_transport_read(struct uxrCustomTransport* transport, uint8_t* buf, size_t len, int timeout, uint8_t* err);

void * microros_allocate(size_t size, void * state);
void microros_deallocate(void * pointer, void * state);
void * microros_reallocate(void * pointer, size_t size, void * state);
void * microros_zero_allocate(size_t number_of_elements, size_t size_of_element, void * state);

int32_t get_encoder_data();
void update_encs_dir(RobotMovement move);
void update_multi_dir(const Direction  dir[]);
void update_enc_dir(Encoder * enc, Direction wheel_dir);
void sub_encoder_dir_callback(const void * msgin);

void  init_imu_msg(sensor_msgs__msg__Imu *imu_data);
void get_imu_data(sensor_msgs__msg__Imu *imu_data);

void lidar_sweep(sensor_msgs__msg__LaserScan *laserscan_msg, int32_t currentCount);
bool get_lidar_data();

void madgwick_init();
void madgwick_update(float gx, float gy, float gz, float ax, float ay, float az, float mx, float my, float mz);
void madgwick_get_quaternion(float *qx, float *qy, float *qz, float *qw);
void read_magnetometer(float *mag_x, float *mag_y, float *mag_z);

void publisherInit();

void lidar_timer_callback(TimerHandle_t xTimer);

/* USER CODE END FunctionPrototypes */

void StartDefaultTask(void *argument);

void MX_FREERTOS_Init(void); /* (MISRA C 2004 rule 8.1) */

void MX_FREERTOS_Init(void) {

  /* Create the thread(s) */
  /* creation of defaultTask */
  defaultTaskHandle = osThreadNew(StartDefaultTask, NULL, &defaultTask_attributes);

}

void StartDefaultTask(void *argument)
{
  /* USER CODE BEGIN StartDefaultTask */
	// micro-ROS configuration
	rmw_uros_set_custom_transport(
	  true,
	  (void *) &huart2,
	  cubemx_transport_open,
	  cubemx_transport_close,
	  cubemx_transport_write,
	  cubemx_transport_read);

	rcl_allocator_t freeRTOS_allocator = rcutils_get_zero_initialized_allocator();
	freeRTOS_allocator.allocate = microros_allocate;
	freeRTOS_allocator.deallocate = microros_deallocate;
	freeRTOS_allocator.reallocate = microros_reallocate;
	freeRTOS_allocator.zero_allocate =  microros_zero_allocate;

	if (!rcutils_set_default_allocator(&freeRTOS_allocator)) {
	  // strcpy((char*)uart_buf, "Error on default allocators \r\n");
	  // HAL_UART_Transmit(&huart2, uart_buf, strlen((char*)uart_buf), HAL_MAX_DELAY);
	   printf("Error on default allocators (line %d)\n", __LINE__);
	}

	// micro-ROS app
//	rcl_publisher_t publisher;
//	rcl_publisher_t encoder_publisher;
//	rcl_publisher_t imu_publisher;
//	rcl_publisher_t lidar_publisher;

//	std_msgs__msg__Float32 encoder_msg;
//	sensor_msgs__msg__Imu  imu_msg;
//	std_msgs__msg__Float32 lidar_msg;
//	std_msgs__msg__Int32 msg;

	rclc_support_t support;
	rcl_allocator_t allocator;
	rcl_node_t node;

	allocator = rcl_get_default_allocator();

	//create init_options
	rclc_support_init(&support, 0, NULL, &allocator);

	// create node
	rclc_node_init_default(&node, "cubemx_node", "", &support);
    // strcpy((char*)uart_buf, "Finished creating support_init and node_init \r\n");
    // HAL_UART_Transmit(&huart2, uart_buf, strlen((char*)uart_buf), HAL_MAX_DELAY);

	// create publisher
	rclc_publisher_init_default(
	&publisher,
	&node,
	ROSIDL_GET_MSG_TYPE_SUPPORT(std_msgs, msg, Int32),
	"cubemx_publisher");

    rclc_publisher_init_default(
        &encoder_publisher,
        &node,
        ROSIDL_GET_MSG_TYPE_SUPPORT(std_msgs, msg, Int32),
        "encoder_data"
    );
    rclc_publisher_init_default(
        &encoder_RB_publisher,
        &node,
        ROSIDL_GET_MSG_TYPE_SUPPORT(std_msgs, msg, Int32),
        "encoder_RB_data"
    );
    rclc_publisher_init_default(
        &encoder_RF_publisher,
        &node,
        ROSIDL_GET_MSG_TYPE_SUPPORT(std_msgs, msg, Int32),
        "encoder_RF_data"
    );
    rclc_publisher_init_default(
        &encoder_LB_publisher,
        &node,
        ROSIDL_GET_MSG_TYPE_SUPPORT(std_msgs, msg, Int32),
        "encoder_LB_data"
    );
    rclc_publisher_init_default(
        &encoder_LF_publisher,
        &node,
        ROSIDL_GET_MSG_TYPE_SUPPORT(std_msgs, msg, Int32),
        "encoder_LF_data"
    );

    rclc_publisher_init_best_effort(
        &imu_publisher,
        &node,
        ROSIDL_GET_MSG_TYPE_SUPPORT(sensor_msgs, msg, Imu),
        "imu_data"
    );

//    rclc_publisher_init_default(
//        &lidar_publisher,
//        &node,
//        ROSIDL_GET_MSG_TYPE_SUPPORT(std_msgs, msg, Float32),
//        "lidar_data"
//    );

    rclc_publisher_init_default(
        &lidar_publisher,
        &node,
        ROSIDL_GET_MSG_TYPE_SUPPORT(sensor_msgs, msg, LaserScan),
        "lidar_data"
    );

//    rclc_publisher_init_default(
//        &encoder_pub_check,
//        &node,
//        ROSIDL_GET_MSG_TYPE_SUPPORT(std_msgs, msg, String),
//        "encoder_check"
//    );

    rmw_qos_profile_t qos_profile = {
        .history = RMW_QOS_POLICY_HISTORY_KEEP_LAST, // Keep last message
        .depth = 1, // Depth of 1
        .reliability = RMW_QOS_POLICY_RELIABILITY_BEST_EFFORT, // BestEffort reliability
        .durability = RMW_QOS_POLICY_DURABILITY_VOLATILE // Volatile durability
    };

    rclc_subscription_init(
        &encoder_dir_subscriber,
        &node,
        ROSIDL_GET_MSG_TYPE_SUPPORT(std_msgs, msg, String),
        "motor_control",
		&qos_profile
	);

    rclc_executor_t executor = rclc_executor_get_zero_initialized_executor();
    rclc_executor_init(&executor, &support.context, 2, &allocator);
    rclc_executor_add_subscription(
    		&executor,
			&encoder_dir_subscriber,
			&sub_encoder_dir_msg,
			&sub_encoder_dir_callback,
			ON_NEW_DATA
	);

    sub_encoder_dir_msg.data.data = (char * ) malloc(200 * sizeof(char));
    sub_encoder_dir_msg.data.size = 0;
    sub_encoder_dir_msg.data.capacity = 200;

    pub_encoder_dir_msg.data.data = (char * ) malloc(200 * sizeof(char));
    pub_encoder_dir_msg.data.size = 0;
    pub_encoder_dir_msg.data.capacity = 200;

    // strcpy((char*)uart_buf, "Finished init deault of all publishers \r\n");
    // HAL_UART_Transmit(&huart2, uart_buf, strlen((char*)uart_buf), HAL_MAX_DELAY);

    // Start FreeRTOS tasks
//    osThreadNew(handleEncoder, NULL, &encoderTask_attributes);
//    osThreadNew(handleIMU, NULL, &imuTask_attributes);
//    osThreadNew(handleLidar, NULL, &lidarTask_attributes);

    // init_MPU9250();

	msg.data = 0;

	TimerHandle_t lidar_timer;
	lidar_timer = xTimerCreate("LidarTimer", pdMS_TO_TICKS(500), pdTRUE, NULL, lidar_timer_callback);
	xTimerStart(lidar_timer, 0);
	init_imu_msg(&imu_msg);
//	float lidar_dist;

	rcl_ret_t ret;
	rcl_ret_t imu_ret;
	/* Infinite loop */
	for(;;)
	{

		ret = rcl_publish(&publisher, &msg, NULL);
		if (ret != RCL_RET_OK)
		{
          //strcpy((char*)uart_buf, "main uRos msg failed \r\n");
          //HAL_UART_Transmit(&huart2, uart_buf, strlen((char*)uart_buf), HAL_MAX_DELAY);
		  printf("Error publishing (line %d)\n", __LINE__);
		}

		rclc_executor_spin_some(&executor, RCL_MS_TO_NS(100));

		for(int i = 0; i < NUM_ENCODERS; i++){
			encoder_msg.data = get_encoder_data(i);
			ret = rcl_publish(encoder_pub[i], &encoder_msg, NULL);
			if (ret != RCL_RET_OK)
			{
	//	      strcpy((char*)uart_buf, "encoder uRos msg failed \r\n");
	//	      HAL_UART_Transmit(&huart2, uart_buf, strlen((char*)uart_buf), HAL_MAX_DELAY);
			  printf("Error publishing encoder data (line %d)\n", __LINE__);
			}
		}

        get_imu_data(&imu_msg);
		imu_ret = rcl_publish(&imu_publisher, &imu_msg, NULL);
		if (imu_ret != RCL_RET_OK)
		{
//		  strcpy((char*)uart_buf, "imu uRos msg failed \r\n");
//		  HAL_UART_Transmit(&huart2, uart_buf, strlen((char*)uart_buf), HAL_MAX_DELAY);
		  printf("Error publishing imu data (line %d)\n", __LINE__);
		}

//		lidar_sweep(&lidar_msg_laserscan, 0);
//		rcl_ret_t ret = rcl_publish(&lidar_publisher, &lidar_msg_laserscan, NULL);
//		if (ret != RCL_RET_OK) {
//			printf("Error publishing LIDAR data (line %d)\n", __LINE__);
//		}
	   // motor_spin_forward = !motor_spin_forward;
	   // msg.data = 0;

		osDelay(100);
	}

  /* USER CODE END StartDefaultTask */
}

/* USER CODE BEGIN Application */
void sub_encoder_dir_callback(const void * msgin)
{
	const std_msgs__msg__String *msg_enc = (const std_msgs__msg__String *)msgin;
    RobotMovement current_move = (RobotMovement)msg_enc->data.data[0]; // Assuming the message contains a single character
    update_encs_dir(current_move);

    // pub_encoder_dir_msg = *msg_enc;
    // pub_encoder_dir_msg.data.size = strlen(pub_encoder_dir_msg.data.data);
    // rcl_publish(&encoder_pub_check, &pub_encoder_dir_msg, NULL);

}

void update_encs_dir(RobotMovement move){

	switch (move){
		case STOP:
			//Fall Through, potentially add check to ensure motors are stopped
			break;
		case MOVE_FORWARD:
			update_multi_dir(DIR_MOVE_FORWARD);
			break;
		case MOVE_BACKWARD:
			update_multi_dir(DIR_MOVE_BACKWARD);
			break;
		case MOVE_LEFT:
			update_multi_dir(DIR_MOVE_LEFT);
			break;
		case MOVE_RIGHT:
			update_multi_dir(DIR_MOVE_RIGHT);
			break;
		case ROTATE_LEFT:
			update_multi_dir(DIR_ROTATE_LEFT);
			break;
		case ROTATE_RIGHT:
			update_multi_dir(DIR_ROTATE_RIGHT);
			break;
		case DIAG_FORWARD_RIGHT:
			update_multi_dir(DIR_DIAG_FORWARD_RIGHT);
			break;
		case DIAG_BACKWARD_RIGHT:
			update_multi_dir(DIR_DIAG_BACKWARD_RIGHT);
			break;
		case DIAG_FORWARD_LEFT:
			update_multi_dir(DIR_DIAG_FORWARD_LEFT);
			break;
		case DIAG_BACKWARD_LEFT:
			update_multi_dir(DIR_DIAG_BACKWARD_LEFT);
			break;
		case FASTER:
			//fall through
			break;
		case SLOWER:
			//fall through
			break;
		default:
			//fall through
			break;
	}
}

void update_multi_dir(const Direction  dir[]) {
	if(dir == NULL){
		//error
		return;
	}

    for (uint8_t i = 0; i < NUM_ENCODERS; i++) {
    	if(dir[i] == STOPPED){
    		continue;
    	}
    	update_enc_dir(encoders[i], dir[i]);
    }
}

void update_enc_dir(Encoder * enc, Direction wheel_dir){
	if(enc == NULL){
		return;
	}
	enc->wheel_spin = wheel_dir;
}

int32_t  get_encoder_data(int enc_num){
	return encoders[enc_num]->tick_count;
}
void  init_imu_msg(sensor_msgs__msg__Imu *imu_data){
	imu_data->header.frame_id.data = "MPU9250_fr";
	imu_data->header.frame_id.size = 10;

    imu_data->linear_acceleration_covariance[0] = 0.00009;  // X variance
    imu_data->linear_acceleration_covariance[1] = 0;
    imu_data->linear_acceleration_covariance[2] = 0;
    imu_data->linear_acceleration_covariance[3] = 0;
    imu_data->linear_acceleration_covariance[4] = 0.00009;  // Y variance
    imu_data->linear_acceleration_covariance[5] = 0;
    imu_data->linear_acceleration_covariance[6] = 0;
    imu_data->linear_acceleration_covariance[7] = 0;
    imu_data->linear_acceleration_covariance[8] = 0.00009;  // Z variance

    imu_data->angular_velocity_covariance[0] = 0.0001;
    imu_data->angular_velocity_covariance[1] = 0;
    imu_data->angular_velocity_covariance[2] = 0;
    imu_data->angular_velocity_covariance[3] = 0;
    imu_data->angular_velocity_covariance[4] = 0.0001;
    imu_data->angular_velocity_covariance[5] = 0;
    imu_data->angular_velocity_covariance[6] = 0;
    imu_data->angular_velocity_covariance[7] = 0;
    imu_data->angular_velocity_covariance[8] = 0.0001;

    imu_data->orientation_covariance[0] = 9999;  // Set high for unknown values
    imu_data->orientation_covariance[1] = 0;
    imu_data->orientation_covariance[2] = 0;
    imu_data->orientation_covariance[3] = 0;
    imu_data->orientation_covariance[4] = 9999;
    imu_data->orientation_covariance[5] = 0;
    imu_data->orientation_covariance[6] = 0;
    imu_data->orientation_covariance[7] = 0;
    imu_data->orientation_covariance[8] = 9999;

}
void  get_imu_data(sensor_msgs__msg__Imu *imu_data){

	HAL_StatusTypeDef imu_ret_func;
	float mag_x, mag_y, mag_z;

	imu_ret_func = HAL_I2C_Mem_Read(&hi2c1, MPU9250_ADDR, ACCEL_XOUT_H, 1, imu_buf, 14, HAL_MAX_DELAY);
    if(imu_ret_func != HAL_OK){
    	// printf("Error reading I2C imu data \n");
    	return;
    }

    imu_data->linear_acceleration.x = (int16_t)((imu_buf[0] << 8) | imu_buf[1]) / ACCEL_SCALE;
    imu_data->linear_acceleration.y = (int16_t)((imu_buf[2] << 8) | imu_buf[3]) / ACCEL_SCALE;
    imu_data->linear_acceleration.z = (int16_t)((imu_buf[4] << 8) | imu_buf[5]) / ACCEL_SCALE;

    // Convert gyroscope raw data to degrees/second
    imu_data->angular_velocity.x = (int16_t)((imu_buf[8] << 8) | imu_buf[9]) / GYRO_SCALE;
    imu_data->angular_velocity.y = (int16_t)((imu_buf[10] << 8) | imu_buf[11]) / GYRO_SCALE;
    imu_data->angular_velocity.z = (int16_t)((imu_buf[12] << 8) | imu_buf[13]) / GYRO_SCALE;

    read_magnetometer(&mag_x, &mag_y, &mag_z);

    MadgwickAHRSupdate(
        imu_data->angular_velocity.x, imu_data->angular_velocity.y, imu_data->angular_velocity.z,
        imu_data->linear_acceleration.x, imu_data->linear_acceleration.y, imu_data->linear_acceleration.z,
        mag_x, mag_y, mag_z
    );

    float qx, qy, qz, qw;
    madgwick_get_quaternion(&qx, &qy, &qz, &qw);

    imu_data->orientation.x = qx;
    imu_data->orientation.y = qy;
    imu_data->orientation.z = qz;
    imu_data->orientation.w = qw;

    uint32_t time_now = uxr_millis();
    imu_data->header.stamp.sec = time_now / 1000;
    imu_data->header.stamp.nanosec = (time_now % 1000) * 1000000;

}

void madgwick_init() {
    // madgwick_begin(IMU_SAMPLE_RATE);  // IMU_SAMPLE_RATE is the sampling rate in Hz
}

//void madgwick_update(float gx, float gy, float gz, float ax, float ay, float az, float mx, float my, float mz) {
//	MadgwickAHRSupdate(gx, gy, gz, ax, ay, az, mx, my, mz);
//}

void madgwick_get_quaternion(float *qx, float *qy, float *qz, float *qw) {
    *qx = q0;
    *qy = q1;
    *qz = q2;
    *qw = q3;
}

void read_magnetometer(float *mag_x, float *mag_y, float *mag_z) {
    uint8_t mag_buf[7];
    HAL_StatusTypeDef ret;

    // Read magnetometer data
    ret = HAL_I2C_Mem_Read(&hi2c1, AK8963_ADDR, AK8963_XOUT_L, 1, mag_buf, 7, HAL_MAX_DELAY);
    if (ret != HAL_OK) {
        printf("Error reading magnetometer data\n");
        return;
    }

    // Convert raw data to microteslas (uT)
    *mag_x = (int16_t)((mag_buf[1] << 8) | mag_buf[0]) * MAG_SCALE;
    *mag_y = (int16_t)((mag_buf[3] << 8) | mag_buf[2]) * MAG_SCALE;
    *mag_z = (int16_t)((mag_buf[5] << 8) | mag_buf[4]) * MAG_SCALE;
}

void lidar_sweep(sensor_msgs__msg__LaserScan * laserscan_msg, int32_t currentCount){

    // int steps = 12;
    int total_steps = 18;
    float distance = 0.0;

    if (laserscan_msg->ranges.data == NULL) {
    	laserscan_msg->ranges.data = (float *)malloc(total_steps * sizeof(float));
    	laserscan_msg->ranges.size = total_steps;
    	laserscan_msg->ranges.capacity = total_steps;
    }

    // Set up LaserScan message parameters
    laserscan_msg->angle_min = 0.0;                       // Start angle (radians)
    laserscan_msg->angle_max = 0.0;                   // End angle (π radians)
    laserscan_msg->angle_increment = 0.0;   // Angle resolution per step
    laserscan_msg->range_min = 0.1;                       // Min valid range (10cm)
    laserscan_msg->range_max = 4.0;                       // Max valid range (4m)

    laserscan_msg->header.stamp.sec = 0;
    laserscan_msg->header.stamp.nanosec = 0;

    if (laserscan_msg->header.frame_id.data == NULL) {
        laserscan_msg->header.frame_id.data = (char*)malloc(10 * sizeof(char));
        laserscan_msg->header.frame_id.capacity = 10;
    }

    strcpy(laserscan_msg->header.frame_id.data, "lidar_link");
    laserscan_msg->header.frame_id.size = strlen("lidar_link");

    for (int i = 0; i < total_steps; i++) {
        if (get_lidar_data(&distance)) {
            laserscan_msg->ranges.data[i] = distance;
        } else {
            laserscan_msg->ranges.data[i] = 69.69;
        }
    }

}

bool get_lidar_data(float * dist_out){

	uart_buf[0] = REG_TEMP;
	HAL_StatusTypeDef lidar_ret_func;

	lidar_ret_func = HAL_I2C_Master_Transmit(&hi2c2, LIDAR_ADDR, i2c_lidar_buf, 1, HAL_MAX_DELAY);
	if(lidar_ret_func != HAL_OK){
//		strcpy((char*)uart_buf, "Lidar I2C Transmit Failed in handle_IMU\r\n");
//		HAL_UART_Transmit(&huart2, uart_buf, strlen((char*)uart_buf), HAL_MAX_DELAY);
		return false;
	}

	lidar_ret_func = HAL_I2C_Master_Receive(&hi2c2, LIDAR_ADDR, i2c_lidar_buf, 2, HAL_MAX_DELAY);
	if(lidar_ret_func != HAL_OK){
//		strcpy((char*)uart_buf, "Lidar I2C Receive Failed in handle_IMU\r\n");
//		HAL_UART_Transmit(&huart2, uart_buf, strlen((char*)uart_buf), HAL_MAX_DELAY);
		return false;
	}

	lidar_ret_func =  HAL_I2C_Mem_Read(&hi2c2, LIDAR_ADDR, 0x00, 1, i2c_lidar_buf, 14, HAL_MAX_DELAY);
	uint8_t distance = (i2c_lidar_buf[1] << 8) | i2c_lidar_buf[0];
//	sprintf((char *)uart_buf, "LiDAR Distance: %u cm\r\n", distance);
//	HAL_UART_Transmit(&huart2, uart_buf, strlen((char *)uart_buf), HAL_MAX_DELAY);

	*dist_out = (float)distance;

	return true;
}

void lidar_timer_callback(TimerHandle_t xTimer) {
	lidar_sweep(&lidar_msg_laserscan, 0);
	rcl_ret_t ret = rcl_publish(&lidar_publisher, &lidar_msg_laserscan, NULL);
	if (ret != RCL_RET_OK) {
		printf("Error publishing LIDAR data (line %d)\n", __LINE__);
	}
}
/* USER CODE END Application */
